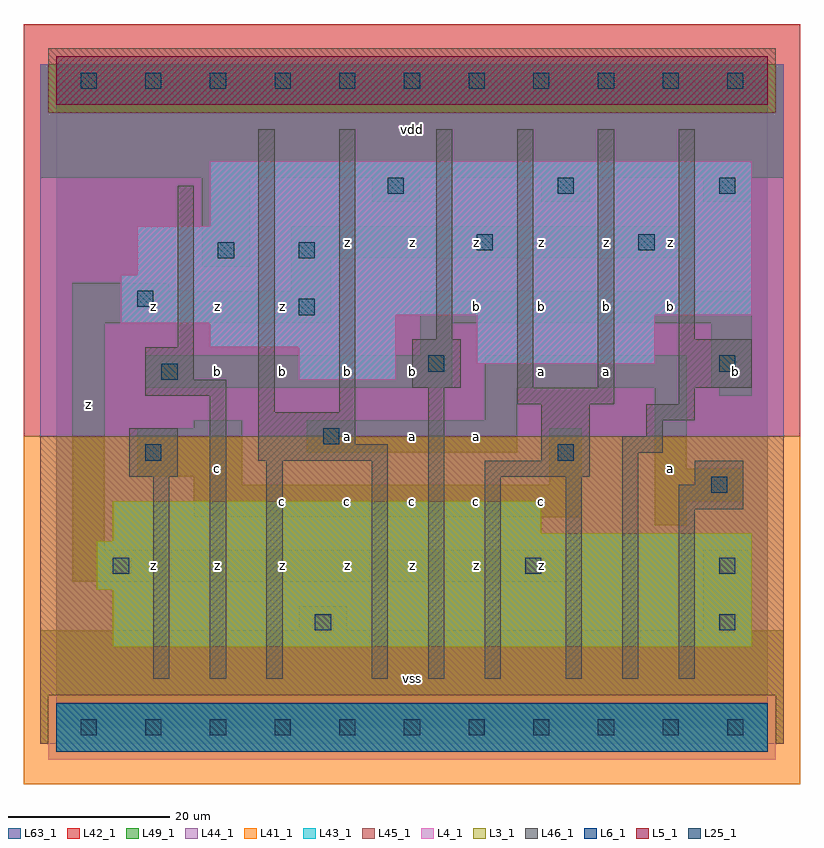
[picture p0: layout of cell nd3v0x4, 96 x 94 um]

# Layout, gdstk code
import gdstk
lib = gdstk.Library(unit=1e-6, precision=1e-09)
def R(c, l, rs):  # rectangles x0, y0, x1, y1
    for r in rs: c.add(gdstk.rectangle(r[:2], r[2:], *l))
def A(c, l, x, y, w, h, nx, ny, dx, dy):  # array of equal rectangles
    R(c, l, [(x+i*dx, y+j*dy, x+i*dx+w, y+j*dy+h) for i in range(nx) for j in range(ny)])
L3_1 = (3, 1)
L4_1 = (4, 1)
L5_1 = (5, 1)
L6_1 = (6, 1)
L25_1 = (25, 1)
L41_1 = (41, 1)
L42_1 = (42, 1)
L43_1 = (43, 1)
L44_1 = (44, 1)
L45_1 = (45, 1)
L46_1 = (46, 1)
L49_1 = (49, 1)
L63_1 = (63, 1)

nd3v0x4 = lib.new_cell('nd3v0x4')
R(nd3v0x4, L3_1, [(7,10,86,17), (5,17,86,23), (7,23,86,24), (7,24,60,28)])
R(nd3v0x4, L4_1, [(30,43,42,47), (52,45,74,51), (19,47,42,50), (8,50,42,51), (8,51,86,56), (10,56,86,62), (19,62,86,70)])
R(nd3v0x4, L5_1, [(0,77,88,83)])
R(nd3v0x4, L6_1, [(0,-3,88,3), (0,-3,88,3)])
A(nd3v0x4, L25_1, 3, -1, 2, 2, 11, 2, 8, 80)
R(nd3v0x4, L25_1, [(32,12,34,14), (82,12,84,14), (7,19,9,21), (58,19,60,21), (82,19,84,21), (81,29,83,31), (11,33,13,35), (62,33,64,35), (33,35,35,37), (13,43,15,45), (46,44,48,46), (82,44,84,46), (30,51,32,53), (10,52,12,54), (20,58,22,60), (30,58,32,60), (52,59,54,61), (72,59,74,61), (41,66,43,68), (62,66,64,68), (82,66,84,68)])
R(nd3v0x4, L41_1, [(-4,-7,92,36)])
R(nd3v0x4, L42_1, [(-4,36,92,87)])
R(nd3v0x4, L43_1, [(0,-3,88,3), (7,10,86,17), (5,17,86,23), (7,23,86,24), (7,24,60,28), (30,43,42,47), (52,45,74,51), (19,47,42,50), (8,50,42,51), (8,51,86,56), (10,56,86,62), (19,62,86,70), (0,77,88,83)])
R(nd3v0x4, L44_1, [(-1,-4,89,4), (-2,36,90,76), (-2,76,-1,82), (89,76,90,82)])
R(nd3v0x4, L45_1, [(-2,-2,-1,4), (89,-2,90,4), (-2,4,90,36), (-1,76,89,84)])
R(nd3v0x4, L46_1, [(12,6,14,31), (19,6,21,41), (26,6,28,33), (39,6,41,33), (46,6,48,42), (53,6,55,31), (63,6,65,31), (70,6,72,34), (77,6,79,27), (77,27,85,30), (79,30,85,33), (9,31,15,37), (53,31,66,33), (25,33,41,35), (60,33,66,40), (70,34,75,36), (25,35,37,39), (73,36,75,38), (73,38,79,40), (25,39,27,74), (35,39,37,74), (57,40,69,42), (77,40,79,42), (11,41,21,43), (44,42,50,48), (57,42,59,74), (67,42,69,74), (77,42,86,48), (11,43,17,47), (15,47,17,67), (47,48,49,74), (77,48,79,74)])
R(nd3v0x4, L49_1, [(-2,-2,90,12), (30,12,36,15), (80,12,86,22), (2,18,63,22), (2,22,6,50), (74,25,78,28), (17,26,65,30), (74,28,85,32), (17,30,23,31), (61,30,65,37), (10,31,23,37), (74,32,78,42), (31,34,57,38), (17,37,23,38), (53,38,57,42), (82,41,86,42), (11,42,49,46), (53,42,78,46), (81,42,86,50), (45,46,49,50), (2,50,34,54), (45,50,86,54), (2,54,14,55), (29,54,34,58), (18,57,24,68), (29,58,79,62), (39,65,45,68), (60,65,66,68), (80,65,86,68), (-2,68,90,82)])
R(nd3v0x4, L63_1, [(0,0,88,80)])
nd3v0x4.add(gdstk.Label('z', (12,20), layer=49, texttype=1))
nd3v0x4.add(gdstk.Label('z', (4,40), layer=49, texttype=1))
nd3v0x4.add(gdstk.Label('z', (12,52), layer=49, texttype=1))
nd3v0x4.add(gdstk.Label('z', (20,20), layer=49, texttype=1))
nd3v0x4.add(gdstk.Label('z', (28,20), layer=49, texttype=1))
nd3v0x4.add(gdstk.Label('c', (28,28), layer=49, texttype=1))
nd3v0x4.add(gdstk.Label('c', (20,32), layer=49, texttype=1))
nd3v0x4.add(gdstk.Label('b', (20,44), layer=49, texttype=1))
nd3v0x4.add(gdstk.Label('b', (28,44), layer=49, texttype=1))
nd3v0x4.add(gdstk.Label('z', (20,52), layer=49, texttype=1))
nd3v0x4.add(gdstk.Label('z', (28,52), layer=49, texttype=1))
nd3v0x4.add(gdstk.Label('vss', (44,6), layer=49, texttype=1))
nd3v0x4.add(gdstk.Label('z', (36,20), layer=49, texttype=1))
nd3v0x4.add(gdstk.Label('c', (36,28), layer=49, texttype=1))
nd3v0x4.add(gdstk.Label('z', (44,20), layer=49, texttype=1))
nd3v0x4.add(gdstk.Label('c', (44,28), layer=49, texttype=1))
nd3v0x4.add(gdstk.Label('a', (36,36), layer=49, texttype=1))
nd3v0x4.add(gdstk.Label('b', (36,44), layer=49, texttype=1))
nd3v0x4.add(gdstk.Label('a', (44,36), layer=49, texttype=1))
nd3v0x4.add(gdstk.Label('b', (44,44), layer=49, texttype=1))
nd3v0x4.add(gdstk.Label('z', (36,60), layer=49, texttype=1))
nd3v0x4.add(gdstk.Label('z', (44,60), layer=49, texttype=1))
nd3v0x4.add(gdstk.Label('vdd', (44,74), layer=49, texttype=1))
nd3v0x4.add(gdstk.Label('z', (52,20), layer=49, texttype=1))
nd3v0x4.add(gdstk.Label('c', (52,28), layer=49, texttype=1))
nd3v0x4.add(gdstk.Label('z', (60,20), layer=49, texttype=1))
nd3v0x4.add(gdstk.Label('c', (60,28), layer=49, texttype=1))
nd3v0x4.add(gdstk.Label('a', (52,36), layer=49, texttype=1))
nd3v0x4.add(gdstk.Label('a', (60,44), layer=49, texttype=1))
nd3v0x4.add(gdstk.Label('a', (68,44), layer=49, texttype=1))
nd3v0x4.add(gdstk.Label('b', (60,52), layer=49, texttype=1))
nd3v0x4.add(gdstk.Label('b', (68,52), layer=49, texttype=1))
nd3v0x4.add(gdstk.Label('b', (52,52), layer=49, texttype=1))
nd3v0x4.add(gdstk.Label('z', (52,60), layer=49, texttype=1))
nd3v0x4.add(gdstk.Label('z', (60,60), layer=49, texttype=1))
nd3v0x4.add(gdstk.Label('z', (68,60), layer=49, texttype=1))
nd3v0x4.add(gdstk.Label('a', (76,32), layer=49, texttype=1))
nd3v0x4.add(gdstk.Label('b', (84,44), layer=49, texttype=1))
nd3v0x4.add(gdstk.Label('b', (76,52), layer=49, texttype=1))
nd3v0x4.add(gdstk.Label('z', (76,60), layer=49, texttype=1))

lib.write_gds('nd3v0x4.gds')
